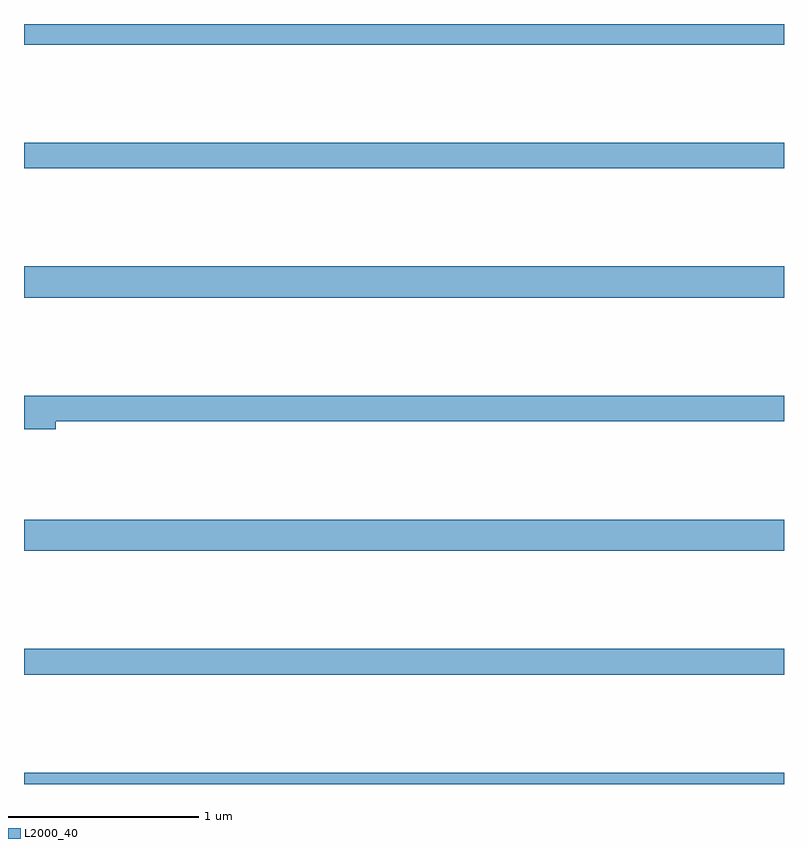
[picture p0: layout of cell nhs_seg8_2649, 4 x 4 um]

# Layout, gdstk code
import gdstk
lib = gdstk.Library(unit=1e-6, precision=1e-09)
def R(c, l, rs):  # rectangles x0, y0, x1, y1
    for r in rs: c.add(gdstk.rectangle(r[:2], r[2:], *l))
def P(c, l, *ps):  # polygons
    for p in ps: c.add(gdstk.Polygon(p, *l))
L2000_40 = (2000, 40)

nhs_seg8_2649 = lib.new_cell('nhs_seg8_2649')
R(nhs_seg8_2649, L2000_40, [(277,1153.9,281,1153.96), (277,1154.476,281,1154.612), (277,1155.128,281,1155.292), (277,1156.46,281,1156.624), (277,1157.14,281,1157.276), (277,1157.792,281,1157.9)])
P(nhs_seg8_2649, L2000_40, [(277.168,1155.808),(281,1155.808),(281,1155.944),(277,1155.944),(277,1155.766),(277.168,1155.766)])

lib.write_gds('nhs_seg8_2649.gds')
